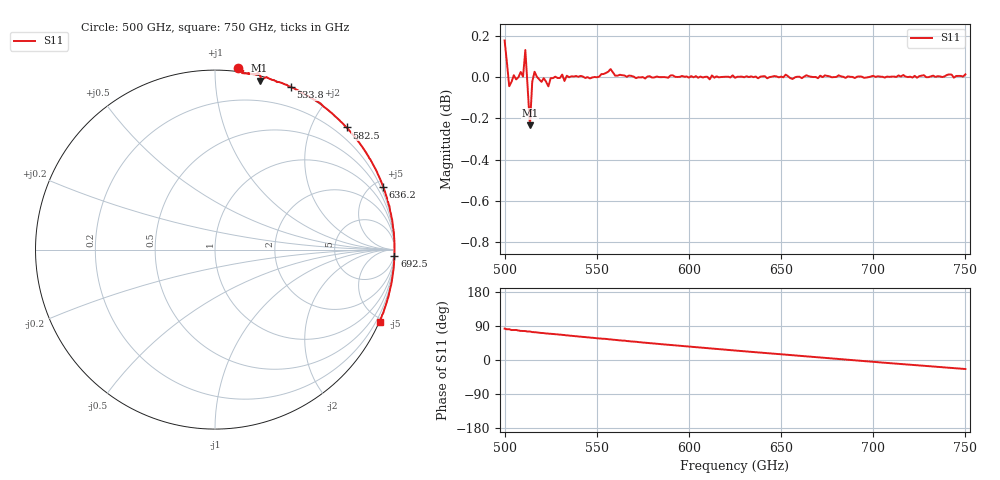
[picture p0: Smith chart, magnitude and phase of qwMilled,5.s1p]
!Created with mwavepy.
# GHz S RI R 50.0
!freq	ReS11	ImS11
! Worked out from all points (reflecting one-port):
!   201 points, 500 GHz to 750 GHz, reference 50 ohm
!   lowest |S11| = -0.2 dB at 513.8 GHz (marker M1), VSWR 74.66, Z = 1.8 + j64.8 ohm
!   phase of S11 starts at 83 deg and turns -107 deg over the sweep
!   S11 on the Smith chart (normalised r, x): 500 GHz: -0.02, +1.13; 533.8 GHz: -0.00, +1.57; 582.5 GHz: -0.00, +2.55; 636.2 GHz: -0.01, +5.55; 692.5 GHz: -1, -58; 750 GHz: -0.02, -4.75
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500  0.1284 1.013
! Port Impedance 50.00000000000000 0.00000000000000
501.25  0.1583 0.9958
502.5  0.1504 0.9836
503.75  0.1884 0.9795
506.25  0.1867 0.9812
508.75  0.229 0.9765
510  0.2317 0.9732
511.25  0.2392 0.9869
512.5  0.2556 0.9606
513.75  0.248 0.9415
515  0.2798 0.9575
516.25  0.2867 0.9613
523.75  0.3448 0.9333
531.25  0.4016 0.9175
533.75  0.4231 0.9071
555  0.5658 0.8276
562.5  0.6191 0.7872
582.5  0.7331 0.6808
593.75  0.7871 0.6172
612.5  0.8667 0.501
625  0.9059 0.4229
636.25  0.9377 0.3489
656.25  0.9762 0.2128
671.25  0.9946 0.1122
687.5  1 0.00161
692.5  0.9999 -0.0342
718.75  0.9782 -0.2084
750  0.9165 -0.4042
